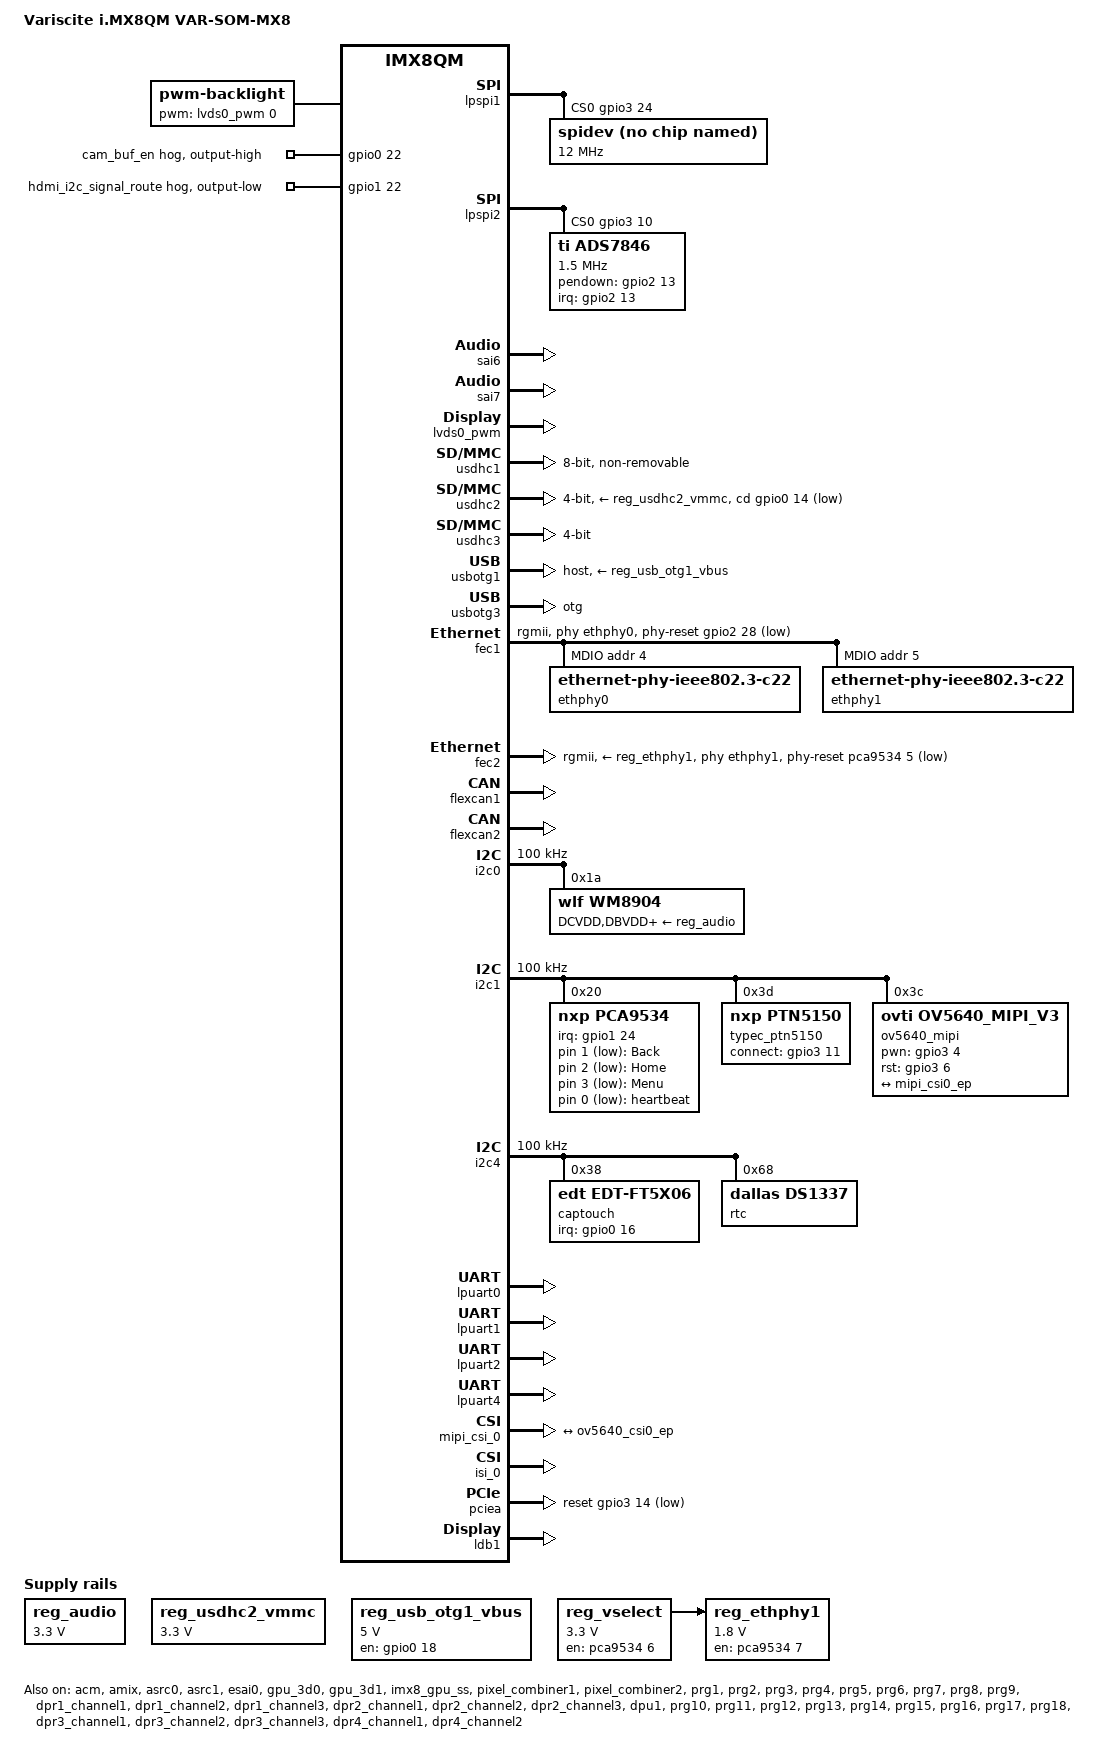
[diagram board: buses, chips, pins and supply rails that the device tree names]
/*
 * Copyright (C) 2016 Freescale Semiconductor, Inc.
 * Copyright 2017 NXP
 * Copyright 2019 Variscite Ltd.
 *
 * This program is free software; you can redistribute it and/or
 * modify it under the terms of the GNU General Public License
 * as published by the Free Software Foundation; either version 2
 * of the License, or (at your option) any later version.
 *
 * This program is distributed in the hope that it will be useful,
 * but WITHOUT ANY WARRANTY; without even the implied warranty of
 * MERCHANTABILITY or FITNESS FOR A PARTICULAR PURPOSE.  See the
 * GNU General Public License for more details.
 */

/dts-v1/;

#include "fsl-imx8qm.dtsi"

/ {
	model = "Variscite i.MX8QM VAR-SOM-MX8";
	compatible = "fsl,imx8qm-var-som", "fsl,imx8qm";

	chosen {
		bootargs = "console=ttyLP0,115200 earlycon=lpuart32,0x5a060000,115200";
		stdout-path = &lpuart0;
	};

	aliases {
		gpio0 = &gpio0;
		gpio1 = &gpio1;
		gpio2 = &gpio2;
		gpio3 = &gpio3;
		gpio4 = &gpio4;
		gpio5 = &gpio5;
		gpio6 = &gpio6;
		gpio7 = &gpio7;
		gpio8 = &pca9534;
		i2c0  = &i2c0;
		i2c1  = &i2c1;
		i2c2  = &i2c2;
		i2c3  = &i2c3;
		i2c4  = &i2c4;
	};

	regulators: regulators {
		compatible = "simple-bus";
		#address-cells = <1>;
		#size-cells = <0>;

		reg_audio: audio {
			compatible = "regulator-fixed";
			regulator-name = "wm8904_supply";
			regulator-min-microvolt = <3300000>;
			regulator-max-microvolt = <3300000>;
			regulator-always-on;
		};

		reg_usdhc2_vmmc: usdhc2_vmmc {
			compatible = "regulator-fixed";
			regulator-name = "sw-3p3-sd1";
			regulator-min-microvolt = <3300000>;
			regulator-max-microvolt = <3300000>;
			regulator-always-on;
		};

		reg_usb_otg1_vbus: usb_otg1_vbus {
			compatible = "regulator-fixed";
			regulator-name = "usb_otg1_vbus";
			regulator-min-microvolt = <5000000>;
			regulator-max-microvolt = <5000000>;
			gpio = <&gpio0 18 GPIO_ACTIVE_HIGH>;
			enable-active-high;
		};

		reg_vselect: regulator-vselect {
			compatible = "regulator-fixed";
			regulator-name = "reg_vselect";
			regulator-min-microvolt = <3300000>;
			regulator-max-microvolt = <3300000>;
			regulator-always-on;
			gpio = <&pca9534 6 GPIO_ACTIVE_HIGH>;
			enable-active-high;
		};

		reg_ethphy1: regulator-ethphy1 {
			compatible = "regulator-fixed";
			vin-supply = <&reg_vselect>;
			regulator-name = "reg_ethphy1";
			regulator-min-microvolt = <1800000>;
			regulator-max-microvolt = <1800000>;
			gpio = <&pca9534 7 GPIO_ACTIVE_HIGH>;
			enable-active-high;
			regulator-off-in-suspend;
		};
	};

	backlight: backlight {
		compatible = "pwm-backlight";
		pwms = <&lvds0_pwm 0 100000 0>;
		brightness-levels = < 0  1  2  3  4  5  6  7  8  9
				     10 11 12 13 14 15 16 17 18 19
				     20 21 22 23 24 25 26 27 28 29
				     30 31 32 33 34 35 36 37 38 39
				     40 41 42 43 44 45 46 47 48 49
				     50 51 52 53 54 55 56 57 58 59
				     60 61 62 63 64 65 66 67 68 69
				     70 71 72 73 74 75 76 77 78 79
				     80 81 82 83 84 85 86 87 88 89
				     90 91 92 93 94 95 96 97 98 99
				    100>;
		default-brightness-level = <80>;
		status = "okay";
	};

	gpio_keys {
		compatible = "gpio-keys";

		back {
			label = "Back";
			gpios = <&pca9534 1 GPIO_ACTIVE_LOW>;
			linux,code = <KEY_BACK>;
		};

		home {
			label = "Home";
			gpios = <&pca9534 2 GPIO_ACTIVE_LOW>;
			linux,code = <KEY_HOME>;
		};

		menu {
			label = "Menu";
			gpios = <&pca9534 3 GPIO_ACTIVE_LOW>;
			linux,code = <KEY_MENU>;
		};
	};

	leds {
		compatible = "gpio-leds";
		status = "okay";

		heartbeat {
			label = "heartbeat";
			gpios = <&pca9534 0 GPIO_ACTIVE_LOW>;
			linux,default-trigger = "heartbeat";
		};
	};

	sound-wm8904 {
		compatible = "fsl,imx-audio-wm8904";
		model = "imx-wm8904";
		audio-codec = <&wm8904>;
		audio-cpu = <&esai0>;
		audio-routing =
			"Headphone Jack", "HPOUTL",
			"Headphone Jack", "HPOUTR",
			"IN2L", "Line In Jack",
			"IN2R", "Line In Jack",
			"IN1L", "Mic Jack",
			"Playback", "CPU-Playback",
			"CPU-Capture", "Capture";
		status = "okay";
	};

	sound-amix-sai {
		compatible = "fsl,imx-audio-amix";
		model = "amix-audio-sai";
		dais = <&sai6>, <&sai7>;
		amix-controller = <&amix>;
		status = "okay";
	};

	lpspi1: lpspi@5a010000 {
		compatible = "fsl,imx7ulp-spi";
		reg = <0x0 0x5a010000 0x0 0x10000>;
		interrupts = <GIC_SPI 217 IRQ_TYPE_LEVEL_HIGH>;
		interrupt-parent = <&gic>;
		clocks = <&clk IMX8QM_SPI1_CLK>,
			 <&clk IMX8QM_SPI1_IPG_CLK>;
		clock-names = "per", "ipg";
		assigned-clocks = <&clk IMX8QM_SPI1_CLK>;
		assigned-clock-rates = <20000000>;
		power-domains = <&pd_dma0_chan3>;
		dma-names = "tx","rx";
		dmas = <&edma0 3 0 0>, <&edma0 2 0 1>;
		status = "disabled";
	};

	lpspi2: lpspi@5a020000 {
		compatible = "fsl,imx7ulp-spi";
		reg = <0x0 0x5a020000 0x0 0x10000>;
		interrupts = <GIC_SPI 218 IRQ_TYPE_LEVEL_HIGH>;
		interrupt-parent = <&gic>;
		clocks = <&clk IMX8QM_SPI2_CLK>,
			 <&clk IMX8QM_SPI2_IPG_CLK>;
		clock-names = "per", "ipg";
		assigned-clocks = <&clk IMX8QM_SPI2_CLK>;
		assigned-clock-rates = <20000000>;
		power-domains = <&pd_dma0_chan5>;
		dma-names = "tx","rx";
		dmas = <&edma0 5 0 0>, <&edma0 4 0 1>;
		status = "disabled";
	};
};

&acm {
	status = "okay";
};

&amix {
	status = "okay";
};

&asrc0 {
	assigned-clocks = <&clk IMX8QM_AUD_PLL0_DIV>,
			<&clk IMX8QM_AUD_ACM_AUD_PLL_CLK0_DIV>,
			<&clk IMX8QM_AUD_ACM_AUD_REC_CLK0_DIV>;
	assigned-clock-rates = <786432000>, <49152000>, <24576000>;
	fsl,asrc-rate  = <48000>;
	status = "okay";
};

&asrc1 {
	assigned-clocks = <&clk IMX8QM_AUD_PLL0_DIV>,
			<&clk IMX8QM_AUD_ACM_AUD_PLL_CLK0_DIV>,
			<&clk IMX8QM_AUD_ACM_AUD_REC_CLK0_DIV>;
	assigned-clock-rates = <786432000>, <49152000>, <24576000>;
	fsl,asrc-rate = <48000>;
	status = "okay";
};

&esai0 {
	pinctrl-names = "default";
	pinctrl-0 = <&pinctrl_esai0>;
	assigned-clocks = <&clk IMX8QM_ACM_ESAI0_MCLK_SEL>,
			<&clk IMX8QM_AUD_PLL0_DIV>,
			<&clk IMX8QM_AUD_ACM_AUD_PLL_CLK0_DIV>,
			<&clk IMX8QM_AUD_ACM_AUD_REC_CLK0_DIV>,
			<&clk IMX8QM_AUD_ESAI_0_EXTAL_IPG>;
	assigned-clock-parents = <&clk IMX8QM_AUD_ACM_AUD_PLL_CLK0_CLK>;
	assigned-clock-rates = <0>, <786432000>, <49152000>, <24576000>, <49152000>;
	status = "okay";
};

&sai_hdmi_tx {
	assigned-clocks =<&clk IMX8QM_ACM_HDMI_TX_SAI0_MCLK_SEL>,
			<&clk IMX8QM_AUD_PLL0_DIV>,
			<&clk IMX8QM_AUD_ACM_AUD_PLL_CLK0_DIV>,
			<&clk IMX8QM_AUD_ACM_AUD_REC_CLK0_DIV>,
			<&clk IMX8QM_AUD_SAI_HDMITX0_MCLK>;
	assigned-clock-parents = <&clk IMX8QM_AUD_ACM_AUD_PLL_CLK0_CLK>;
	assigned-clock-rates = <0>, <786432000>, <49152000>, <24576000>, <49152000>;
	fsl,sai-asynchronous;
	status = "disabled";
};

&sai6 {
	assigned-clocks = <&clk IMX8QM_ACM_SAI6_MCLK_SEL>,
			<&clk IMX8QM_AUD_PLL1_DIV>,
			<&clk IMX8QM_AUD_ACM_AUD_PLL_CLK1_DIV>,
			<&clk IMX8QM_AUD_ACM_AUD_REC_CLK1_DIV>,
			<&clk IMX8QM_AUD_SAI_6_MCLK>;
	assigned-clock-parents = <&clk IMX8QM_AUD_ACM_AUD_PLL_CLK1_CLK>;
	assigned-clock-rates = <0>, <786432000>, <98304000>, <24576000>, <98304000>;
	fsl,sai-asynchronous;
	fsl,txm-rxs;
	status = "okay";
};

&sai7 {
	assigned-clocks = <&clk IMX8QM_ACM_SAI7_MCLK_SEL>,
			<&clk IMX8QM_AUD_PLL1_DIV>,
			<&clk IMX8QM_AUD_ACM_AUD_PLL_CLK1_DIV>,
			<&clk IMX8QM_AUD_ACM_AUD_REC_CLK1_DIV>,
			<&clk IMX8QM_AUD_SAI_7_MCLK>;
	assigned-clock-parents = <&clk IMX8QM_AUD_ACM_AUD_PLL_CLK1_CLK>;
	assigned-clock-rates = <0>, <786432000>, <98304000>, <24576000>, <98304000>;
	fsl,sai-asynchronous;
	fsl,txm-rxs;
	status = "okay";
};

&iomuxc {
	pinctrl-names = "default";
	pinctrl-0 = <&pinctrl_hog>;

	imx8qm-var-som {
		pinctrl_hog: hoggrp {
			fsl,pins = <
				SC_P_ESAI1_FSR_LSIO_GPIO2_IO04				0x00000041
				SC_P_ESAI1_FST_LSIO_GPIO2_IO05				0x00000041
				SC_P_ESAI1_SCKR_LSIO_GPIO2_IO06				0x00000041
				SC_P_ESAI1_SCKT_LSIO_GPIO2_IO07				0x00000041
				SC_P_SPDIF0_EXT_CLK_LSIO_GPIO2_IO16			0x00000041
			>;
		};

		pinctrl_esai0: esai0grp {
			fsl,pins = <
				SC_P_ESAI0_FSR_AUD_ESAI0_FSR				0xc6000040
				SC_P_ESAI0_FST_AUD_ESAI0_FST				0xc6000040
				SC_P_ESAI0_SCKR_AUD_ESAI0_SCKR				0xc6000040
				SC_P_ESAI0_SCKT_AUD_ESAI0_SCKT				0xc6000040
				SC_P_ESAI0_TX0_AUD_ESAI0_TX0				0xc6000040
				SC_P_ESAI0_TX5_RX0_AUD_ESAI0_TX5_RX0	 		0xc6000040
				SC_P_MCLK_OUT0_AUD_ESAI0_TX_HF_CLK			0xc600004c
			>;
		};

		pinctrl_fec1: fec1grp {
			fsl,pins = <
				SC_P_ENET0_MDC_CONN_ENET0_MDC				0x06000048
				SC_P_ENET0_MDIO_CONN_ENET0_MDIO				0x06000048
				SC_P_ENET0_RGMII_TX_CTL_CONN_ENET0_RGMII_TX_CTL		0x06000048
				SC_P_ENET0_RGMII_TXC_CONN_ENET0_RGMII_TXC		0x06000048
				SC_P_ENET0_RGMII_TXD0_CONN_ENET0_RGMII_TXD0		0x06000048
				SC_P_ENET0_RGMII_TXD1_CONN_ENET0_RGMII_TXD1		0x06000048
				SC_P_ENET0_RGMII_TXD2_CONN_ENET0_RGMII_TXD2		0x06000048
				SC_P_ENET0_RGMII_TXD3_CONN_ENET0_RGMII_TXD3		0x06000048
				SC_P_ENET0_RGMII_RXC_CONN_ENET0_RGMII_RXC		0x06000048
				SC_P_ENET0_RGMII_RX_CTL_CONN_ENET0_RGMII_RX_CTL		0x06000048
				SC_P_ENET0_RGMII_RXD0_CONN_ENET0_RGMII_RXD0		0x06000048
				SC_P_ENET0_RGMII_RXD1_CONN_ENET0_RGMII_RXD1		0x06000048
				SC_P_ENET0_RGMII_RXD2_CONN_ENET0_RGMII_RXD2		0x06000048
				SC_P_ENET0_RGMII_RXD3_CONN_ENET0_RGMII_RXD3		0x06000048
				SC_P_ESAI0_TX2_RX3_LSIO_GPIO2_IO28			0x06000048
				SC_P_ESAI0_TX4_RX1_LSIO_GPIO2_IO30			0x06000048
			>;
		};

		pinctrl_fec2: fec2grp {
			fsl,pins = <
				SC_P_ENET1_RGMII_TX_CTL_CONN_ENET1_RGMII_TX_CTL		0x06000048
				SC_P_ENET1_RGMII_TXC_CONN_ENET1_RGMII_TXC		0x06000048
				SC_P_ENET1_RGMII_TXD0_CONN_ENET1_RGMII_TXD0		0x06000048
				SC_P_ENET1_RGMII_TXD1_CONN_ENET1_RGMII_TXD1		0x06000048
				SC_P_ENET1_RGMII_TXD2_CONN_ENET1_RGMII_TXD2		0x06000048
				SC_P_ENET1_RGMII_TXD3_CONN_ENET1_RGMII_TXD3		0x06000048
				SC_P_ENET1_RGMII_RXC_CONN_ENET1_RGMII_RXC		0x06000048
				SC_P_ENET1_RGMII_RX_CTL_CONN_ENET1_RGMII_RX_CTL		0x06000048
				SC_P_ENET1_RGMII_RXD0_CONN_ENET1_RGMII_RXD0		0x06000048
				SC_P_ENET1_RGMII_RXD1_CONN_ENET1_RGMII_RXD1		0x06000048
				SC_P_ENET1_RGMII_RXD2_CONN_ENET1_RGMII_RXD2		0x06000048
				SC_P_ENET1_RGMII_RXD3_CONN_ENET1_RGMII_RXD3		0x06000048
			>;
		};

		pinctrl_i2c0: i2c0grp {
			fsl,pins = <
				SC_P_HDMI_TX0_TS_SCL_DMA_I2C0_SCL			0xc600004c
				SC_P_HDMI_TX0_TS_SDA_DMA_I2C0_SDA			0xc600004c
			>;
		};

		pinctrl_i2c1: i2c1grp {
			fsl,pins = <
				SC_P_USB_SS3_TC3_DMA_I2C1_SDA				0xc600004c
				SC_P_USB_SS3_TC1_DMA_I2C1_SCL				0xc600004c
			>;
		};

		pinctrl_i2c4: i2c4grp {
			fsl,pins = <
				SC_P_ENET1_MDC_DMA_I2C4_SCL				0xc600004c
				SC_P_ENET1_MDIO_DMA_I2C4_SDA				0xc600004c
			>;
		};

		pinctrl_usbotg1: otg1grp {
			fsl,pins = <
				SC_P_GPT1_CAPTURE_LSIO_GPIO0_IO18			0x06000048
			>;
		};

		pinctrl_ptn5150: ptn5150grp {
			fsl,pins = <
				SC_P_SPI2_CS1_LSIO_GPIO3_IO11				0x00000021
			>;
		};

		pinctrl_pca9534: pca9534grp {
			fsl,pins = <
				SC_P_MIPI_CSI0_MCLK_OUT_LSIO_GPIO1_IO24			0x00000021
			>;
		};

		pinctrl_lpuart0: lpuart0grp {
			fsl,pins = <
				SC_P_UART0_RX_DMA_UART0_RX				0x06000020
				SC_P_UART0_TX_DMA_UART0_TX				0x06000020
			>;
		};

		pinctrl_lpuart1: lpuart1grp {
			fsl,pins = <
				SC_P_UART1_RX_DMA_UART1_RX				0x06000020
				SC_P_UART1_TX_DMA_UART1_TX				0x06000020
				SC_P_UART1_CTS_B_DMA_UART1_RTS_B			0x06000020
				SC_P_UART1_RTS_B_DMA_UART1_CTS_B			0x06000020
			>;
		};

		pinctrl_lpuart2: lpuart2grp {
			fsl,pins = <
				SC_P_LVDS0_I2C1_SCL_DMA_UART2_TX			0x06000020
				SC_P_LVDS0_I2C1_SDA_DMA_UART2_RX			0x06000020
			>;
		};

		pinctrl_lpuart4: lpuart4grp {
			fsl,pins = <
				SC_P_M40_GPIO0_01_DMA_UART4_TX				0x06000020
				SC_P_M40_GPIO0_00_DMA_UART4_RX				0x06000020
			>;
		};

		pinctrl_mlb: mlbgrp {
			fsl,pins = <
				SC_P_MLB_SIG_CONN_MLB_SIG				0x00000021
				SC_P_MLB_CLK_CONN_MLB_CLK				0x00000021
				SC_P_MLB_DATA_CONN_MLB_DATA				0x00000021
			>;
		};

		pinctrl_usdhc1: usdhc1grp {
			fsl,pins = <
				SC_P_EMMC0_CLK_CONN_EMMC0_CLK				0x06000041
				SC_P_EMMC0_CMD_CONN_EMMC0_CMD				0x00000021
				SC_P_EMMC0_DATA0_CONN_EMMC0_DATA0			0x00000021
				SC_P_EMMC0_DATA1_CONN_EMMC0_DATA1			0x00000021
				SC_P_EMMC0_DATA2_CONN_EMMC0_DATA2			0x00000021
				SC_P_EMMC0_DATA3_CONN_EMMC0_DATA3			0x00000021
				SC_P_EMMC0_DATA4_CONN_EMMC0_DATA4			0x00000021
				SC_P_EMMC0_DATA5_CONN_EMMC0_DATA5			0x00000021
				SC_P_EMMC0_DATA6_CONN_EMMC0_DATA6			0x00000021
				SC_P_EMMC0_DATA7_CONN_EMMC0_DATA7			0x00000021
				SC_P_EMMC0_STROBE_CONN_EMMC0_STROBE			0x06000041
				SC_P_EMMC0_RESET_B_CONN_EMMC0_RESET_B			0x00000021
			>;
		};

		pinctrl_usdhc1_100mhz: usdhc1grp100mhz {
			fsl,pins = <
				SC_P_EMMC0_CLK_CONN_EMMC0_CLK				0x06000040
				SC_P_EMMC0_CMD_CONN_EMMC0_CMD				0x00000020
				SC_P_EMMC0_DATA0_CONN_EMMC0_DATA0			0x00000020
				SC_P_EMMC0_DATA1_CONN_EMMC0_DATA1			0x00000020
				SC_P_EMMC0_DATA2_CONN_EMMC0_DATA2			0x00000020
				SC_P_EMMC0_DATA3_CONN_EMMC0_DATA3			0x00000020
				SC_P_EMMC0_DATA4_CONN_EMMC0_DATA4			0x00000020
				SC_P_EMMC0_DATA5_CONN_EMMC0_DATA5			0x00000020
				SC_P_EMMC0_DATA6_CONN_EMMC0_DATA6			0x00000020
				SC_P_EMMC0_DATA7_CONN_EMMC0_DATA7			0x00000020
				SC_P_EMMC0_STROBE_CONN_EMMC0_STROBE			0x06000040
				SC_P_EMMC0_RESET_B_CONN_EMMC0_RESET_B			0x00000020
			>;
		};

		pinctrl_usdhc1_200mhz: usdhc1grp200mhz {
			fsl,pins = <
				SC_P_EMMC0_CLK_CONN_EMMC0_CLK				0x06000040
				SC_P_EMMC0_CMD_CONN_EMMC0_CMD				0x00000020
				SC_P_EMMC0_DATA0_CONN_EMMC0_DATA0			0x00000020
				SC_P_EMMC0_DATA1_CONN_EMMC0_DATA1			0x00000020
				SC_P_EMMC0_DATA2_CONN_EMMC0_DATA2			0x00000020
				SC_P_EMMC0_DATA3_CONN_EMMC0_DATA3			0x00000020
				SC_P_EMMC0_DATA4_CONN_EMMC0_DATA4			0x00000020
				SC_P_EMMC0_DATA5_CONN_EMMC0_DATA5			0x00000020
				SC_P_EMMC0_DATA6_CONN_EMMC0_DATA6			0x00000020
				SC_P_EMMC0_DATA7_CONN_EMMC0_DATA7			0x00000020
				SC_P_EMMC0_STROBE_CONN_EMMC0_STROBE			0x06000040
				SC_P_EMMC0_RESET_B_CONN_EMMC0_RESET_B			0x00000020
			>;
		};

		pinctrl_usdhc2_gpio: usdhc2grpgpio {
			fsl,pins = <
				SC_P_GPT0_CLK_LSIO_GPIO0_IO14				0x00000021
			>;
		};

		pinctrl_usdhc2: usdhc2grp {
			fsl,pins = <
				SC_P_USDHC1_CLK_CONN_USDHC1_CLK				0x06000041
				SC_P_USDHC1_CMD_CONN_USDHC1_CMD				0x00000021
				SC_P_USDHC1_DATA0_CONN_USDHC1_DATA0			0x00000021
				SC_P_USDHC1_DATA1_CONN_USDHC1_DATA1			0x00000021
				SC_P_USDHC1_DATA2_CONN_USDHC1_DATA2			0x00000021
				SC_P_USDHC1_DATA3_CONN_USDHC1_DATA3			0x00000021
				SC_P_USDHC1_VSELECT_CONN_USDHC1_VSELECT			0x00000021
			>;
		};

		pinctrl_usdhc2_100mhz: usdhc2grp100mhz {
			fsl,pins = <
				SC_P_USDHC1_CLK_CONN_USDHC1_CLK				0x06000040
				SC_P_USDHC1_CMD_CONN_USDHC1_CMD				0x00000020
				SC_P_USDHC1_DATA0_CONN_USDHC1_DATA0			0x00000020
				SC_P_USDHC1_DATA1_CONN_USDHC1_DATA1			0x00000020
				SC_P_USDHC1_DATA2_CONN_USDHC1_DATA2			0x00000020
				SC_P_USDHC1_DATA3_CONN_USDHC1_DATA3			0x00000020
				SC_P_USDHC1_VSELECT_CONN_USDHC1_VSELECT			0x00000020
			>;
		};

		pinctrl_usdhc2_200mhz: usdhc2grp200mhz {
			fsl,pins = <
				SC_P_USDHC1_CLK_CONN_USDHC1_CLK				0x06000040
				SC_P_USDHC1_CMD_CONN_USDHC1_CMD				0x00000020
				SC_P_USDHC1_DATA0_CONN_USDHC1_DATA0			0x00000020
				SC_P_USDHC1_DATA1_CONN_USDHC1_DATA1			0x00000020
				SC_P_USDHC1_DATA2_CONN_USDHC1_DATA2			0x00000020
				SC_P_USDHC1_DATA3_CONN_USDHC1_DATA3			0x00000020
				SC_P_USDHC1_VSELECT_CONN_USDHC1_VSELECT			0x00000020
			>;
		};

		pinctrl_usdhc3: usdhc3grp {
			fsl,pins = <
				SC_P_USDHC2_CLK_CONN_USDHC2_CLK				0x06000041
				SC_P_USDHC2_CMD_CONN_USDHC2_CMD				0x00000021
				SC_P_USDHC2_DATA0_CONN_USDHC2_DATA0			0x00000021
				SC_P_USDHC2_DATA1_CONN_USDHC2_DATA1			0x00000021
				SC_P_USDHC2_DATA2_CONN_USDHC2_DATA2			0x00000021
				SC_P_USDHC2_DATA3_CONN_USDHC2_DATA3			0x00000021
			>;
		};

		pinctrl_usdhc3_100mhz: usdhc3grp100mhz {
			fsl,pins = <
				SC_P_USDHC2_CLK_CONN_USDHC2_CLK				0x06000040
				SC_P_USDHC2_CMD_CONN_USDHC2_CMD				0x00000020
				SC_P_USDHC2_DATA0_CONN_USDHC2_DATA0			0x00000020
				SC_P_USDHC2_DATA1_CONN_USDHC2_DATA1			0x00000020
				SC_P_USDHC2_DATA2_CONN_USDHC2_DATA2			0x00000020
				SC_P_USDHC2_DATA3_CONN_USDHC2_DATA3			0x00000020
			>;
		};

		pinctrl_usdhc3_200mhz: usdhc3grp200mhz {
			fsl,pins = <
				SC_P_USDHC2_CLK_CONN_USDHC2_CLK				0x06000040
				SC_P_USDHC2_CMD_CONN_USDHC2_CMD				0x00000020
				SC_P_USDHC2_DATA0_CONN_USDHC2_DATA0			0x00000020
				SC_P_USDHC2_DATA1_CONN_USDHC2_DATA1			0x00000020
				SC_P_USDHC2_DATA2_CONN_USDHC2_DATA2			0x00000020
				SC_P_USDHC2_DATA3_CONN_USDHC2_DATA3			0x00000020
			>;
		};

		pinctrl_flexcan1: flexcan0grp {
			fsl,pins = <
				SC_P_FLEXCAN0_TX_DMA_FLEXCAN0_TX			0x00000021
				SC_P_FLEXCAN0_RX_DMA_FLEXCAN0_RX			0x00000021
			>;
		};

		pinctrl_flexcan2: flexcan1grp {
			fsl,pins = <
				SC_P_FLEXCAN1_TX_DMA_FLEXCAN1_TX			0x00000021
				SC_P_FLEXCAN1_RX_DMA_FLEXCAN1_RX			0x00000021
			>;
		};

		pinctrl_pciea: pcieagrp {
			fsl,pins = <
				SC_P_SAI1_RXFS_LSIO_GPIO3_IO14				0x00000021
			>;
		};

		pinctrl_captouch: captouchgrp {
			fsl,pins = <
				SC_P_GPT1_COMPARE_LSIO_GPIO0_IO19			0x06000021
				/* Workaround for capacitive touch problem on Symphony board 1.1 */
				SC_P_GPT0_COMPARE_LSIO_GPIO0_IO16			0x06000021
			>;
		};

		pinctrl_lvds0_pwm0: lvds0pwm0grp {
			fsl,pins = <
				SC_P_LVDS0_GPIO00_LVDS0_PWM0_OUT			0x00000020
			>;
		};

		pinctrl_mipicsi0: mipicsi0grp {
			fsl,pins = <
				SC_P_UART0_RTS_B_LSIO_GPIO0_IO22			0x00000021 /* CAM_BUF_EN */
				SC_P_SPI0_CS1_LSIO_GPIO3_IO06				0x00000021 /* CAM_RST */
				SC_P_SPI0_SDI_LSIO_GPIO3_IO04				0x00000021 /* CAM_PWR */
			>;
		};

		pinctrl_wifi: wifigrp {
			fsl,pins = <
				SC_P_SCU_GPIO0_07_SCU_DSC_RTC_CLOCK_OUTPUT_32K		0xc600004c /* WIFI_32K_CLK */
				SC_P_SCU_GPIO0_03_LSIO_GPIO0_IO31			0x06000021 /* WIFI_REG_ON  */
				SC_P_SCU_GPIO0_02_LSIO_GPIO0_IO30			0x00000021 /* BT_REG_ON    */
				SC_P_QSPI1A_DATA0_LSIO_GPIO4_IO26			0x00000021 /* BT_BUF       */
			>;
		};

		pinctrl_lpspi1: lpspi1grp {
			fsl,pins = <
				SC_P_ADC_IN3_DMA_SPI1_SCK				0x0600004c
				SC_P_ADC_IN4_DMA_SPI1_SDO				0x0600004c
				SC_P_ADC_IN5_DMA_SPI1_SDI				0x0600004c
			>;
		};

		pinctrl_lpspi1_cs: lpspi1csgrp {
			fsl,pins = <
				SC_P_ADC_IN6_LSIO_GPIO3_IO24				0x00000021
			>;
		};

		pinctrl_lpspi2: lpspi2grp {
			fsl,pins = <
				SC_P_SPI2_SCK_DMA_SPI2_SCK				0x0600004c
				SC_P_SPI2_SDO_DMA_SPI2_SDO				0x0600004c
				SC_P_SPI2_SDI_DMA_SPI2_SDI				0x0600004c
			>;
		};

		pinctrl_lpspi2_cs: lpspi2cs {
			fsl,pins = <
				SC_P_SPI2_CS0_LSIO_GPIO3_IO10				0x00000021
			>;
		};

		pinctrl_restouch: restouchgrp {
			fsl,pins = <
				SC_P_ESAI1_TX5_RX0_LSIO_GPIO2_IO13			0x06000020
			>;
		};

		pinctrl_hdmi_i2c: hdmii2cgrp {
			fsl,pins = <
				SC_P_MIPI_DSI1_GPIO0_00_LSIO_GPIO1_IO22			0x00000041
			>;
		};
	};
};

&gpio0 {
	cam_buf_hog {
		gpio-hog;
		gpios = <22 0>;
		output-high;
		line-name = "cam_buf_en";
	};
};

&gpio1 {
	pinctrl-names = "default";
	pinctrl-0 = <&pinctrl_hdmi_i2c>;

	hmdm_i2c_signal_route {
		gpio-hog;
		gpios = <22 GPIO_ACTIVE_HIGH>;
		output-low;
		line-name = "hdmi_i2c_signal_route";
	};
};

&lvds0_pwm {
	pinctrl-names = "default";
	pinctrl-0 = <&pinctrl_lvds0_pwm0>;
	status = "okay";
};

&usdhc1 {
	pinctrl-names = "default", "state_100mhz", "state_200mhz";
	pinctrl-0 = <&pinctrl_usdhc1>;
	pinctrl-1 = <&pinctrl_usdhc1_100mhz>;
	pinctrl-2 = <&pinctrl_usdhc1_200mhz>;
	bus-width = <8>;
	non-removable;
	status = "okay";
};

&usdhc2 {
	pinctrl-names = "default", "state_100mhz", "state_200mhz";
	pinctrl-0 = <&pinctrl_usdhc2>, <&pinctrl_usdhc2_gpio>;
	pinctrl-1 = <&pinctrl_usdhc2_100mhz>, <&pinctrl_usdhc2_gpio>;
	pinctrl-2 = <&pinctrl_usdhc2_200mhz>, <&pinctrl_usdhc2_gpio>;
	bus-width = <4>;
	cd-gpios = <&gpio0 14 GPIO_ACTIVE_LOW>;
	vmmc-supply = <&reg_usdhc2_vmmc>;
	status = "okay";
};

&usdhc3 {
	pinctrl-names = "default", "state_100mhz", "state_200mhz";
	pinctrl-0 = <&pinctrl_usdhc3>, <&pinctrl_wifi>;
	pinctrl-1 = <&pinctrl_usdhc3_100mhz>, <&pinctrl_wifi>;
	pinctrl-2 = <&pinctrl_usdhc3_200mhz>, <&pinctrl_wifi>;
	bus-width = <4>;
	status = "okay";
};

&usbotg1 {
	pinctrl-names = "default";
	pinctrl-0 = <&pinctrl_usbotg1>;
	vbus-supply = <&reg_usb_otg1_vbus>;
	srp-disable;
	hnp-disable;
	adp-disable;
	disable-over-current;
	dr_mode = "host";
	status = "okay";
};

&usbotg3 {
	dr_mode = "otg";
	extcon = <&typec_ptn5150>;
	status = "okay";
};

&fec1 {
	pinctrl-names = "default";
	pinctrl-0 = <&pinctrl_fec1>;
	fsl,magic-packet;
	phy-reset-gpios = <&gpio2 28 GPIO_ACTIVE_LOW>;
	phy-mode = "rgmii";
	phy-handle = <&ethphy0>;
	status = "okay";

	mdio:mdio {
		#address-cells = <1>;
		#size-cells = <0>;

		ethphy0: ethernet-phy@4 {
			compatible = "ethernet-phy-ieee802.3-c22";
			reg = <4>;
			at803x,eee-disabled;
			at803x,vddio-1p8v;
		};

		ethphy1: ethernet-phy@5 {
			compatible = "ethernet-phy-ieee802.3-c22";
			reg = <5>;
			at803x,eee-disabled;
			at803x,vddio-1p8v;
		};
	};
};

&fec2 {
	pinctrl-names = "default";
	pinctrl-0 = <&pinctrl_fec2>;
	phy-mode = "rgmii";
	phy-handle = <&ethphy1>;
	fsl,magic-packet;
	phy-supply = <&reg_ethphy1>;
	phy-reset-gpios = <&pca9534 5 GPIO_ACTIVE_LOW>;
	status = "okay";
};

&flexcan1 {
	pinctrl-names = "default";
	pinctrl-0 = <&pinctrl_flexcan1>;
	status = "okay";
};

&flexcan2 {
	pinctrl-names = "default";
	pinctrl-0 = <&pinctrl_flexcan2>;
	status = "okay";
};

&flexspi0 {
	status = "disabled";
};

&i2c0 {
	#address-cells = <1>;
	#size-cells = <0>;
	pinctrl-names = "default";
	pinctrl-0 = <&pinctrl_i2c0>;
	clock-frequency = <100000>;
	status = "okay";

	wm8904: codec@1a {
		compatible = "wlf,wm8904";
		reg = <0x1a>;
		clocks = <&clk IMX8QM_AUD_MCLKOUT0>;
		clock-names = "mclk";
		power-domains = <&pd_mclk_out0>;
		DCVDD-supply = <&reg_audio>;
		DBVDD-supply = <&reg_audio>;
		AVDD-supply = <&reg_audio>;
		CPVDD-supply = <&reg_audio>;
		MICVDD-supply = <&reg_audio>;
		gpio-cfg = <
			0x0018 /* GPIO1 => DMIC_CLK */
			0xffff /* GPIO2 => don't touch */
			0xffff /* GPIO3 => don't touch */
			0xffff /* GPIO4 => don't touch */
		>;
		status = "okay";
	};
};

&i2c1 {
	#address-cells = <1>;
	#size-cells = <0>;
	clock-frequency = <100000>;
	pinctrl-names = "default";
	pinctrl-0 = <&pinctrl_i2c1>;
	status = "okay";

	/* GPIO Expander */
	pca9534: gpio@20 {
		compatible = "nxp,pca9534";
		reg = <0x20>;
		pinctrl-names = "default";
		pinctrl-0 = <&pinctrl_pca9534>;
		interrupt-parent = <&gpio1>;
		interrupts = <24 IRQ_TYPE_LEVEL_LOW>;
		gpio-controller;
		#gpio-cells = <2>;
		status ="okay";
	};

	/* USB Type-C Controller */
	typec_ptn5150: typec@3d {
		compatible = "nxp,ptn5150";
		pinctrl-names = "default";
		pinctrl-0 = <&pinctrl_ptn5150>;
		reg = <0x3d>;
		connect-gpios = <&gpio3 11 GPIO_ACTIVE_HIGH>;
		status ="okay";
	};

	/* MIPI-CSI2 sensor */
	ov5640_mipi: ov5640_mipi@3c {
		status = "okay";
		compatible = "ovti,ov5640_mipi_v3";
		reg = <0x3c>;
		pinctrl-names = "default";
		pinctrl-0 = <&pinctrl_mipicsi0>;
		clocks = <&clk IMX8QM_CLK_DUMMY>;
		clock-names = "csi_mclk";
		csi_id = <0>;
		pwn-gpios = <&gpio3 4 GPIO_ACTIVE_HIGH>;
		rst-gpios = <&gpio3 6 GPIO_ACTIVE_HIGH>;
		mclk = <24000000>;
		mclk_source = <0>;

		port {
			ov5640_csi0_ep: endpoint {
				remote-endpoint = <&mipi_csi0_ep>;
			};
		};
	};
};

&i2c4 {
	#address-cells = <1>;
	#size-cells = <0>;
	clock-frequency = <100000>;
	pinctrl-names = "default";
	pinctrl-0 = <&pinctrl_i2c4>;
	status = "okay";

	/* Capacitive touch */
	captouch: ft5x06_ts@38 {
		pinctrl-names = "default";
		pinctrl-0 = <&pinctrl_captouch>;
		compatible = "edt,edt-ft5x06";
		reg = <0x38>;
		interrupt-parent = <&gpio0>;
		interrupts = <16 IRQ_TYPE_EDGE_FALLING>;
		touchscreen-size-x = <800>;
		touchscreen-size-y = <480>;
		touchscreen-inverted-x;
		touchscreen-inverted-y;
		status = "okay";
	};

	/* DS1337 RTC module */
	rtc@0x68 {
		compatible = "dallas,ds1337";
		reg = <0x68>;
		status = "okay";
	};
};

&pd_dma_lpuart0 {
	debug_console;
};

&lpuart0 { /* console */
	pinctrl-names = "default";
	pinctrl-0 = <&pinctrl_lpuart0>;
	status = "okay";
};

&lpuart1 { /* BT */
	pinctrl-names = "default";
	pinctrl-0 = <&pinctrl_lpuart1>;
	uart-has-rtscts;
	status = "okay";
};

&lpuart2 { /* header */
	pinctrl-names = "default";
	pinctrl-0 = <&pinctrl_lpuart2>;
	status = "okay";
};

&lpuart3 {
	status = "disabled";
};

&lpuart4 { /* header */
	pinctrl-names = "default";
	pinctrl-0 = <&pinctrl_lpuart4>;
	status = "okay";
};

&pd_dma_lpspi1 {
	#address-cells = <1>;
	#size-cells = <0>;
	wakeup-irq = <249>;

	pd_dma0_chan2: PD_LPSPI1_RX {
		reg = <SC_R_DMA_0_CH2>;
		power-domains =<&pd_dma_lpspi1>;
		#power-domain-cells = <0>;
		#address-cells = <1>;
		#size-cells = <0>;

		pd_dma0_chan3: PD_LPSPI1_TX {
			reg = <SC_R_DMA_0_CH3>;
			power-domains =<&pd_dma0_chan2>;
			#power-domain-cells = <0>;
			#address-cells = <1>;
			#size-cells = <0>;
		};
	};
};

&lpspi1 {
	#address-cells = <1>;
	#size-cells = <0>;
	fsl,spi-num-chipselects = <1>;
	pinctrl-names = "default";
	pinctrl-0 = <&pinctrl_lpspi1 &pinctrl_lpspi1_cs>;
	cs-gpios = <&gpio3 24 0>;
	status = "okay";

	spidev@0 {
		compatible = "spidev";
		spi-max-frequency = <12000000>;
		reg = <0>;
		status = "okay";
	};
};

&pd_dma_lpspi2 {
	#address-cells = <1>;
	#size-cells = <0>;
	wakeup-irq = <250>;

	pd_dma0_chan4: PD_LPSPI2_RX {
		reg = <SC_R_DMA_0_CH4>;
		power-domains =<&pd_dma_lpspi2>;
		#power-domain-cells = <0>;
		#address-cells = <1>;
		#size-cells = <0>;

		pd_dma0_chan5: PD_LPSPI2_TX {
			reg = <SC_R_DMA_0_CH5>;
			power-domains =<&pd_dma0_chan4>;
			#power-domain-cells = <0>;
			#address-cells = <1>;
			#size-cells = <0>;
		};
	};
};

&lpspi2 {
	#address-cells = <1>;
	#size-cells = <0>;
	fsl,spi-num-chipselects = <1>;
	pinctrl-names = "default";
	pinctrl-0 = <&pinctrl_lpspi2 &pinctrl_lpspi2_cs>;
	cs-gpios = <&gpio3 10 0>;
	status = "okay";

	/* Touch */
	ads7846@0 {
		reg = <0>;
		compatible = "ti,ads7846";
		pinctrl-names = "default";
		pinctrl-0 = <&pinctrl_restouch>;
		interrupt-parent = <&gpio2>;
		interrupts = <13 0>;
		spi-max-frequency = <1500000>;
		pendown-gpio = <&gpio2 13 0>;
		ti,x-min = /bits/ 16 <125>;
		ti,x-max = /bits/ 16 <4008>;
		ti,y-min = /bits/ 16 <282>;
		ti,y-max = /bits/ 16 <3864>;
		ti,x-plate-ohms = /bits/ 16 <180>;
		ti,pressure-max = /bits/ 16 <255>;
		ti,debounce-max = /bits/ 16 <10>;
		ti,debounce-tol = /bits/ 16 <3>;
		ti,debounce-rep = /bits/ 16 <1>;
		ti,settle-delay-usec = /bits/ 16 <150>;
		ti,keep-vref-on;
		wakeup-source;
		status = "okay";
	};
};

&mipi_csi_0 {
	#address-cells = <1>;
	#size-cells = <0>;
	status = "okay";

	/* Camera 0  MIPI CSI-2 (CSIS0) */
	port@0 {
		reg = <0>;
		mipi_csi0_ep: endpoint {
			remote-endpoint = <&ov5640_csi0_ep>;
			data-lanes = <1 2>;
		};
	};
};

&mipi_csi_1 {
	status = "disabled";
};

&mlb {
	pinctrl-names = "default";
	pinctrl-0 = <&pinctrl_mlb>;
	status = "disabled";
};

&isi_0 {
	status = "okay";
};

&isi_1 {
	status = "disabled";
};

&isi_2 {
	status = "disabled";
};

&isi_3 {
	status = "disabled";
};

&gpu_3d0 {
	status = "okay";
};

&gpu_3d1 {
	status = "okay";
};

&imx8_gpu_ss {
	status = "okay";
};

&pixel_combiner1 {
	status = "okay";
};

&pixel_combiner2 {
	status = "okay";
};

&prg1 {
	status = "okay";
};

&prg2 {
	status = "okay";
};

&prg3 {
	status = "okay";
};

&prg4 {
	status = "okay";
};

&prg5 {
	status = "okay";
};

&prg6 {
	status = "okay";
};

&prg7 {
	status = "okay";
};

&prg8 {
	status = "okay";
};

&prg9 {
	status = "okay";
};

&dpr1_channel1 {
	status = "okay";
};

&dpr1_channel2 {
	status = "okay";
};

&dpr1_channel3 {
	status = "okay";
};

&dpr2_channel1 {
	status = "okay";
};

&dpr2_channel2 {
	status = "okay";
};

&dpr2_channel3 {
	status = "okay";
};

&dpu1 {
	status = "okay";
};

&prg10 {
	status = "okay";
};

&prg11 {
	status = "okay";
};

&prg12 {
	status = "okay";
};

&prg13 {
	status = "okay";
};

&prg14 {
	status = "okay";
};

&prg15 {
	status = "okay";
};

&prg16 {
	status = "okay";
};

&prg17 {
	status = "okay";
};

&prg18 {
	status = "okay";
};

&dpr3_channel1 {
	status = "okay";
};

&dpr3_channel2 {
	status = "okay";
};

&dpr3_channel3 {
	status = "okay";
};

&dpr4_channel1 {
	status = "okay";
};

&dpr4_channel2 {
	status = "okay";
};

&dpr4_channel3 {
	status = "okay";
};

&dpu2 {
	status = "okay";
};

&pciea{
	ext_osc = <1>;
	pinctrl-names = "default";
	pinctrl-0 = <&pinctrl_pciea>;
	reset-gpio = <&gpio3 14 GPIO_ACTIVE_LOW>;
	status = "okay";
};

&pcieb{
	status = "disabled";
};

&intmux_cm40 {
	status = "okay";
};

&rpmsg{
	/*
	 * 64K for one rpmsg instance:
	 */
	vdev-nums = <1>;
	reg = <0x0 0x90000000 0x0 0x10000>;
	status = "okay";
};

&intmux_cm41 {
	status = "okay";
};

&rpmsg1{
	/*
	 * 64K for one rpmsg instance:
	 */
	vdev-nums = <1>;
	reg = <0x0 0x90100000 0x0 0x10000>;
	status = "okay";
};

&ldb1_phy {
	status = "okay";
};

&ldb1 {
	status = "okay";

	lvds-channel@0 {
		fsl,data-mapping = "spwg";
		fsl,data-width = <18>;
		status = "okay";

		display-timings {
			lvds {
				clock-frequency = <35714000>;
				hactive = <800>;
				vactive = <480>;
				hback-porch = <39>;
				hfront-porch = <39>;
				vback-porch = <29>;
				vfront-porch = <13>;
				hsync-len = <47>;
				vsync-len = <2>;
				hsync-active = <0>;
				vsync-active = <0>;
				de-active = <1>;
				pixelclk-active = <0>;
			};
		};
	};
};

&ldb2_phy {
	status = "disabled";
};

&ldb2 {
	status = "disabled";
};

&wdog {
	status = "okay";
};

&vpu_decoder {
	core_type = <2>;
	status = "okay";
};

&vpu_encoder {
	core_type = <2>;
	status = "okay";
};

&pca9534 {
	usb3_signal_route {
		gpio-hog;
		gpios = <4 GPIO_ACTIVE_HIGH>;
		output-low;
		line-name = "usb3_signal_route";
	};
};

&rtc {
	status = "disabled";
};
